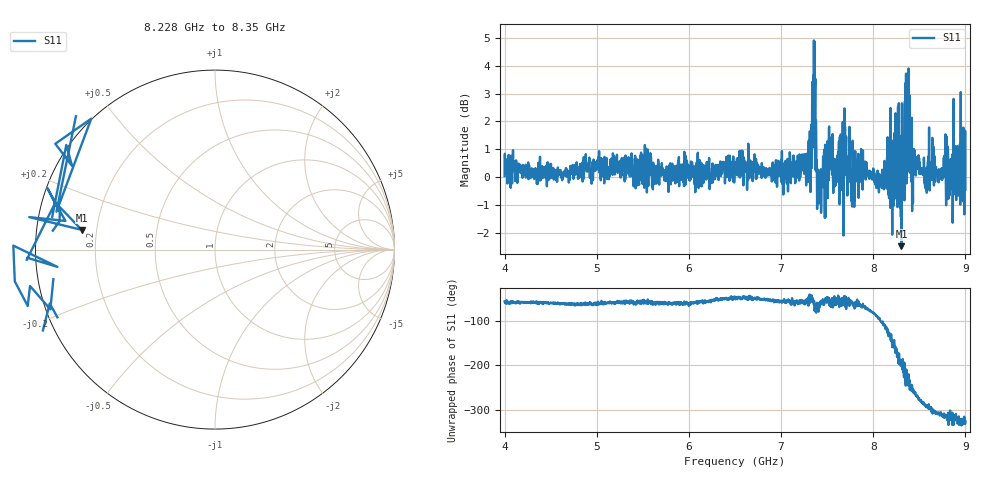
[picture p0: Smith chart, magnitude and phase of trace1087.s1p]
! Created with skrf 1.8.0 (http://scikit-rf.org).
# Hz S RI R 50.0
!freq ReS11 ImS11
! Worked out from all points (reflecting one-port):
!   1601 points, 4 GHz to 9 GHz, reference 50 ohm
!   lowest |S11| = -2.5 dB at 8.306 GHz (marker M1), VSWR 7.04, Z = 7.14 + j3.61 ohm
!   phase of S11 starts at -55 deg and turns -271 deg over the sweep
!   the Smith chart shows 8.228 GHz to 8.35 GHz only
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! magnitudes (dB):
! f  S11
! 4 GHz  0.0
! 4.625 GHz  -0.1
! 5.25 GHz  0.2
! 5.875 GHz  0.0
! 6.5 GHz  0.1
! 7.125 GHz  0.3
! 7.297 GHz  0.8
! 7.356 GHz  4.9
! 7.375 GHz  0.2
! 7.4 GHz  -0.4
! 7.416 GHz  -0.8
! 7.534 GHz  0.8
! 7.588 GHz  0.6
! 7.669 GHz  2.0
! 7.75 GHz  -0.1
! 8.075 GHz  -0.1
! 8.162 GHz  0.1
! 8.219 GHz  1.3
! 8.253 GHz  0.7
! 8.306 GHz  -2.5
! 8.316 GHz  1.2
! 8.334 GHz  0.0
! 8.375 GHz  0.9
! 8.447 GHz  1.0
! 8.788 GHz  -0.3
! 8.841 GHz  0.7
! 8.959 GHz  1.8
! 9 GHz  -0.5
